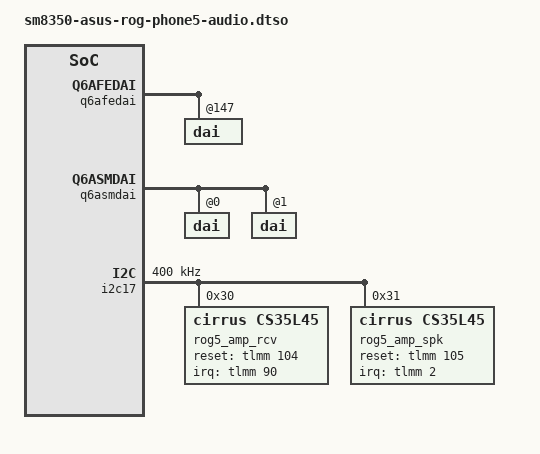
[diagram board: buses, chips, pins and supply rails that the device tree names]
// SPDX-License-Identifier: BSD-3-Clause
/*
 * Earpiece and loudspeaker playback: two Cirrus CS35L45 amplifiers on QUP SE17
 * I2C (stock ZS673KS DT: "RCV" at 0x30, reset GPIO104, IRQ GPIO90; "SPK" at
 * 0x31, reset GPIO105, IRQ GPIO2), fed by the ADSP over SENARY MI2S on the
 * LPASS LPI pins GPIO10-13 (stock lpi_i2s2; playback on data line SD1).
 * Both amplifiers answered on the r38 default (DEVID 0x35a450, rev A0).
 *
 * SE17 sits on QUP wrapper 2, which must stay disabled at boot (it breaks the
 * Wi-Fi firmware load); the amplifiers appear when rog5_bt_activate enables the
 * wrapper after Wi-Fi, and the sound card completes then. Without DSP firmware
 * the amplifiers play ASP_RX straight to the DAC (no speaker protection), so
 * userspace keeps volumes low.
 */
/dts-v1/;
/plugin/;

#include <dt-bindings/gpio/gpio.h>
#include <dt-bindings/interrupt-controller/irq.h>
#include <dt-bindings/sound/qcom,q6afe.h>
#include <dt-bindings/sound/qcom,q6asm.h>

&{/} {
	rog5_sound: sound {
		compatible = "qcom,sm8250-sndcard";
		model = "ASUS-ROG-Phone-5";
		pinctrl-0 = <&rog5_sen_mi2s_active>;
		pinctrl-names = "default";

		mm1-dai-link {
			link-name = "MultiMedia1";

			cpu {
				sound-dai = <&q6asmdai MSM_FRONTEND_DAI_MULTIMEDIA1>;
			};
		};

		mm2-dai-link {
			link-name = "MultiMedia2";

			cpu {
				sound-dai = <&q6asmdai MSM_FRONTEND_DAI_MULTIMEDIA2>;
			};
		};

		speaker-dai-link {
			link-name = "Speakers";

			cpu {
				sound-dai = <&q6afedai SENARY_MI2S_RX>;
			};

			platform {
				sound-dai = <&q6routing>;
			};

			codec {
				sound-dai = <&rog5_amp_rcv 0>, <&rog5_amp_spk 0>;
			};
		};
	};
};

&q6afedai {
	dai@147 {
		reg = <SENARY_MI2S_RX>;
		qcom,sd-lines = <1>;
	};
};

&q6asmdai {
	dai@0 {
		reg = <MSM_FRONTEND_DAI_MULTIMEDIA1>;
	};

	dai@1 {
		reg = <MSM_FRONTEND_DAI_MULTIMEDIA2>;
	};
};

&lpass_tlmm {
	rog5_sen_mi2s_active: rog5-sen-mi2s-active-state {
		clk-pins {
			pins = "gpio10";
			function = "i2s2_clk";
			drive-strength = <8>;
			bias-disable;
		};

		ws-pins {
			pins = "gpio11";
			function = "i2s2_ws";
			drive-strength = <8>;
			bias-disable;
		};

		data-pins {
			pins = "gpio12", "gpio13";
			function = "i2s2_data";
			drive-strength = <8>;
			bias-disable;
		};
	};
};

&i2c17 {
	clock-frequency = <400000>;
	status = "okay";

	rog5_amp_rcv: amplifier@30 {
		compatible = "cirrus,cs35l45";
		reg = <0x30>;
		#sound-dai-cells = <1>;
		reset-gpios = <&tlmm 104 GPIO_ACTIVE_HIGH>;
		interrupts-extended = <&tlmm 90 IRQ_TYPE_LEVEL_LOW>;
		sound-name-prefix = "RCV";
		cirrus,asp-sdout-hiz-ctrl = <0x3>;
	};

	rog5_amp_spk: amplifier@31 {
		compatible = "cirrus,cs35l45";
		reg = <0x31>;
		#sound-dai-cells = <1>;
		reset-gpios = <&tlmm 105 GPIO_ACTIVE_HIGH>;
		interrupts-extended = <&tlmm 2 IRQ_TYPE_LEVEL_LOW>;
		sound-name-prefix = "SPK";
		cirrus,asp-sdout-hiz-ctrl = <0x3>;
	};
};
